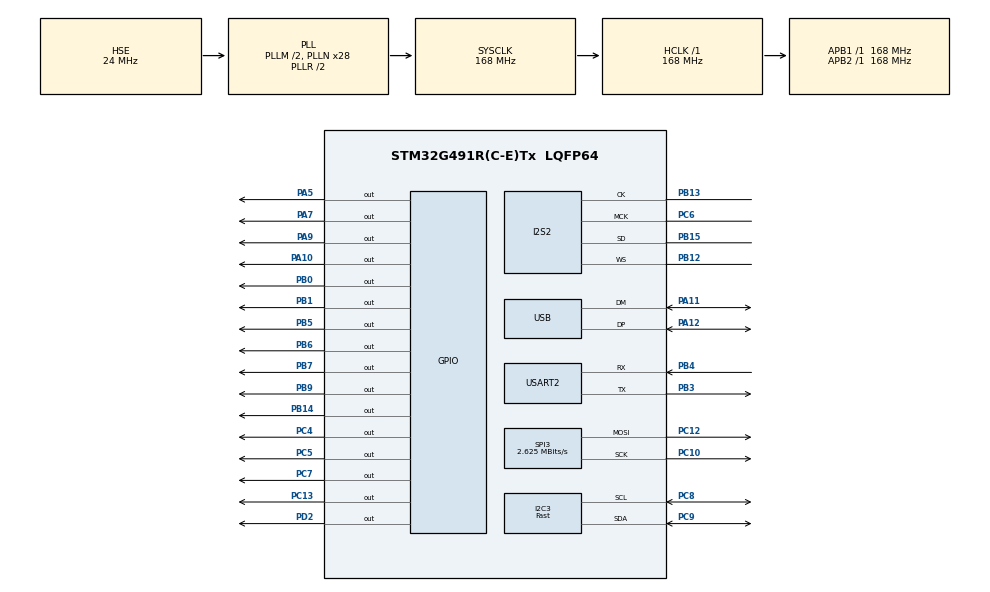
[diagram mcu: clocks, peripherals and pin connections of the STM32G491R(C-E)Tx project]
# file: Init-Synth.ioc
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Dma.Request0=SPI2_TX
Dma.SPI2_TX.0.Direction=DMA_MEMORY_TO_PERIPH
Dma.SPI2_TX.0.EventEnable=DISABLE
Dma.SPI2_TX.0.Instance=DMA1_Channel1
Dma.SPI2_TX.0.MemDataAlignment=DMA_MDATAALIGN_HALFWORD
Dma.SPI2_TX.0.MemInc=DMA_MINC_ENABLE
Dma.SPI2_TX.0.Mode=DMA_CIRCULAR
Dma.SPI2_TX.0.PeriphDataAlignment=DMA_PDATAALIGN_HALFWORD
Dma.SPI2_TX.0.PeriphInc=DMA_PINC_DISABLE
Dma.SPI2_TX.0.Polarity=HAL_DMAMUX_REQ_GEN_RISING
Dma.SPI2_TX.0.Priority=DMA_PRIORITY_VERY_HIGH
Dma.SPI2_TX.0.RequestNumber=1
Dma.SPI2_TX.0.SignalID=NONE
Dma.SPI2_TX.0.SyncEnable=DISABLE
Dma.SPI2_TX.0.SyncPolarity=HAL_DMAMUX_SYNC_NO_EVENT
Dma.SPI2_TX.0.SyncRequestNumber=1
Dma.SPI2_TX.0.SyncSignalID=NONE
I2C3.I2C_Speed_Mode=I2C_Fast
I2C3.Speed=400
I2C3.Timing=0x20B21E5A
I2S2.AudioFreq=I2S_AUDIOFREQ_16K
I2S2.ErrorAudioFreq=0.03 %
I2S2.FullDuplexMode=I2S_FULLDUPLEXMODE_DISABLE
I2S2.Instance=SPI$Index
I2S2.RealAudioFreq=16.006 KHz
I2S2.VirtualMode=I2S_MODE_MASTER
Mcu.Family=STM32G4
Mcu.Name=STM32G491R(C-E)Tx
Mcu.Package=LQFP64
NVIC.DMA1_Channel1_IRQn=true\:0\:0\:false\:false\:true\:false\:true\:true
NVIC.PriorityGroup=NVIC_PRIORITYGROUP_4
NVIC.TIM6_DAC_IRQn=true\:0\:0\:false\:false\:true\:true\:true\:true
NVIC.USART2_IRQn=true\:0\:0\:false\:false\:true\:true\:true\:true
NVIC.USB_LP_IRQn=true\:0\:0\:false\:false\:true\:false\:true\:true
PA10.Signal=GPIO_Output
PA11.Mode=Device
PA11.Signal=USB_DM
PA12.Mode=Device
PA12.Signal=USB_DP
PA13.Mode=Serial_Wire
PA13.Signal=SYS_JTMS-SWDIO
PA14.Mode=Serial_Wire
PA14.Signal=SYS_JTCK-SWCLK
PA5.Signal=GPIO_Output
PA7.Signal=GPIO_Output
PA9.Signal=GPIO_Output
PB0.Signal=GPIO_Output
PB1.Signal=GPIO_Output
PB12.Mode=Half_Duplex_Master
PB12.Signal=I2S2_WS
PB13.Mode=Half_Duplex_Master
PB13.Signal=I2S2_CK
PB14.Signal=GPIO_Output
PB15.Mode=Half_Duplex_Master
PB15.Signal=I2S2_SD
PB3.Mode=Asynchronous
PB3.Signal=USART2_TX
PB4.Mode=Asynchronous
PB4.Signal=USART2_RX
PB5.GPIO_PuPd=GPIO_PULLDOWN
PB5.Signal=GPIO_Output
PB6.Signal=GPIO_Output
PB7.Signal=GPIO_Output
PB9.Signal=GPIO_Output
PC10.Mode=TX_Only_Simplex_Unidirect_Master
PC10.Signal=SPI3_SCK
PC12.Mode=TX_Only_Simplex_Unidirect_Master
PC12.Signal=SPI3_MOSI
PC13.Signal=GPIO_Output
PC4.Signal=GPIO_Output
PC5.Signal=GPIO_Output
PC6.Mode=Master_Clock_Activated
PC6.Signal=I2S2_MCK
PC7.Signal=GPIO_Output
PC8.Mode=I2C
PC8.Signal=I2C3_SCL
PC9.Mode=I2C
PC9.Signal=I2C3_SDA
PD2.Signal=GPIO_Output
PF0-OSC_IN.Mode=HSE-External-Oscillator
PF0-OSC_IN.Signal=RCC_OSC_IN
PF1-OSC_OUT.Mode=HSE-External-Oscillator
PF1-OSC_OUT.Signal=RCC_OSC_OUT
ProjectManager.HeapSize=0x200
ProjectManager.StackSize=0x400
ProjectManager.TargetToolchain=STM32CubeIDE
RCC.ADC12Freq_Value=168000000
RCC.ADC345Freq_Value=168000000
RCC.AHBFreq_Value=168000000
RCC.APB1Freq_Value=168000000
RCC.APB1TimFreq_Value=168000000
RCC.APB2Freq_Value=168000000
RCC.APB2TimFreq_Value=168000000
RCC.CortexFreq_Value=168000000
RCC.EXTERNAL_CLOCK_VALUE=12288000
RCC.HCLKFreq_Value=168000000
RCC.HSE_VALUE=24000000
RCC.HSI48_VALUE=48000000
RCC.HSI_VALUE=16000000
RCC.LSE_VALUE=32768
RCC.PLLM=RCC_PLLM_DIV2
RCC.PLLN=28
RCC.PLLSourceVirtual=RCC_PLLSOURCE_HSE
RCC.SYSCLKFreq_VALUE=168000000
RCC.SYSCLKSource=RCC_SYSCLKSOURCE_PLLCLK
RCC.USBFreq_Value=48000000
RCC.VCOOutputFreq_Value=336000000
SPI3.BaudRatePrescaler=SPI_BAUDRATEPRESCALER_64
SPI3.CalculateBaudRate=2.625 MBits/s
SPI3.DataSize=SPI_DATASIZE_8BIT
SPI3.Direction=SPI_DIRECTION_2LINES
SPI3.Mode=SPI_MODE_MASTER
SPI3.VirtualType=VM_MASTER
STMicroelectronics.X-CUBE-ALGOBUILD.1.3.0.LibraryCcDSPOoLibraryJjDSPOoLibrary=true
TIM6.PeriodNoDither=1250-1
TIM6.Prescaler=16800-1
USART2.AutoBaudRateEnableParam=UART_ADVFEATURE_AUTOBAUDRATE_DISABLE
USART2.SwapParam=ADVFEATURE_SWAP_ENABLE
USART2.VirtualMode-Asynchronous=VM_ASYNC
USB_DEVICE.CLASS_NAME_FS=CDC
USB_DEVICE.PRODUCT_STRING_CDC_FS=Init Synthesizer
USB_DEVICE.VirtualMode=Cdc
USB_DEVICE.VirtualModeFS=Cdc_FS
VP_STMicroelectronics.X-CUBE-ALGOBUILD_VS_DSPOoLibraryJjLibrary_1.3.0_1.3.0.Mode=DSPOoLibraryJjLibrary
VP_SYS_VS_DBSignals.Mode=DisableDeadBatterySignals
VP_TIM6_VS_ClockSourceINT.Mode=Enable_Timer
VP_USB_DEVICE_VS_USB_DEVICE_CDC_FS.Mode=CDC_FS
board=custom

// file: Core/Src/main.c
/* USER CODE BEGIN Header */
/**
  ******************************************************************************
  * @file           : main.c
  * @brief          : Main program body
  ******************************************************************************
  * @attention
  *
  * Copyright (c) 2024 STMicroelectronics.
  * All rights reserved.
  *
  * This software is licensed under terms that can be found in the LICENSE file
  * in the root directory of this software component.
  * If no LICENSE file comes with this software, it is provided AS-IS.
  *
  ******************************************************************************
  */
/* USER CODE END Header */
#include "main.h"
#include "dma.h"
#include "i2c.h"
#include "i2s.h"
#include "spi.h"
#include "tim.h"
#include "usart.h"
#include "usb_device.h"
#include "gpio.h"

/* USER CODE BEGIN Includes */

#define ARM_MATH_CM4

#include "math.h"
#include "arm_math.h"
#include "usbd_cdc_if.h"
#include "string.h"
#include "stdbool.h"

#include "audiodac.h"
#include "gpioxpndr.h"
#include "synth.h"
#include "serial.h"
#include "midi.h"
#include "note.h"
#include "eeprom.h"
#include "system.h"

/* USER CODE END Includes */

void SystemClock_Config(void);

/* USER CODE BEGIN 0 */

extern System sys;

/* USER CODE END 0 */

int main(void)
{

  /* MCU Configuration--------------------------------------------------------*/

  /* Reset of all peripherals, Initializes the Flash interface and the Systick. */
  HAL_Init();

  /* Configure the system clock */
  SystemClock_Config();

  /* Initialize all configured peripherals */
  MX_GPIO_Init();
  MX_DMA_Init();
  MX_I2S2_Init();
  MX_I2C3_Init();
  MX_SPI3_Init();
  MX_USB_Device_Init();
  MX_USART2_UART_Init();
  MX_TIM6_Init();
  /* USER CODE BEGIN 2 */

  HAL_TIM_Base_Start_IT(&htim6);

  System_Reset_Initialize();

  Synth_Reset_Initialize();

  HAL_UART_Receive_IT(&huart2, sys.temp_buf , 1); // set up interrupt for MIDI/serial input

  uint8_t data[] = "INIT-READY\n";
  HAL_UART_Transmit(&huart2, data, 10, 1000);

  //Preset_Read(0);
  //Preset_Init(0);
  //Preset_Read(0);

  /* USER CODE END 2 */

  /* Infinite loop */
  /* USER CODE BEGIN WHILE */
  while (1)
  {

	  //Preset_Write(4);
	  //Preset_Write_test(0);

	  if(sys.midi_data_present == 1){
		  MIDI_Decode_Handler();
	  }

	  if(sys.usb_data_present == 1){
		  Serial_Command_Handler();
	  }

	  //Gate_Control();

	  if((sys.note_status_bit == 1)){

		  Waveform_Synthesis_Handler(sys.midi_note_input, sys.midi_note_velocity);
	  }

    /* USER CODE END WHILE */

  }
}

void SystemClock_Config(void)
{
  RCC_OscInitTypeDef RCC_OscInitStruct = {0};
  RCC_ClkInitTypeDef RCC_ClkInitStruct = {0};

  /** Configure the main internal regulator output voltage
  */
  HAL_PWREx_ControlVoltageScaling(PWR_REGULATOR_VOLTAGE_SCALE1_BOOST);

  /** Initializes the RCC Oscillators according to the specified parameters
  * in the RCC_OscInitTypeDef structure.
  */
  RCC_OscInitStruct.OscillatorType = RCC_OSCILLATORTYPE_HSI48|RCC_OSCILLATORTYPE_HSE;
  RCC_OscInitStruct.HSEState = RCC_HSE_ON;
  RCC_OscInitStruct.HSI48State = RCC_HSI48_ON;
  RCC_OscInitStruct.PLL.PLLState = RCC_PLL_ON;
  RCC_OscInitStruct.PLL.PLLSource = RCC_PLLSOURCE_HSE;
  RCC_OscInitStruct.PLL.PLLM = RCC_PLLM_DIV2;
  RCC_OscInitStruct.PLL.PLLN = 28;
  RCC_OscInitStruct.PLL.PLLP = RCC_PLLP_DIV2;
  RCC_OscInitStruct.PLL.PLLQ = RCC_PLLQ_DIV2;
  RCC_OscInitStruct.PLL.PLLR = RCC_PLLR_DIV2;
  if (HAL_RCC_OscConfig(&RCC_OscInitStruct) != HAL_OK)
  {
    Error_Handler();
  }

  /** Initializes the CPU, AHB and APB buses clocks
  */
  RCC_ClkInitStruct.ClockType = RCC_CLOCKTYPE_HCLK|RCC_CLOCKTYPE_SYSCLK
                              |RCC_CLOCKTYPE_PCLK1|RCC_CLOCKTYPE_PCLK2;
  RCC_ClkInitStruct.SYSCLKSource = RCC_SYSCLKSOURCE_PLLCLK;
  RCC_ClkInitStruct.AHBCLKDivider = RCC_SYSCLK_DIV1;
  RCC_ClkInitStruct.APB1CLKDivider = RCC_HCLK_DIV1;
  RCC_ClkInitStruct.APB2CLKDivider = RCC_HCLK_DIV1;

  if (HAL_RCC_ClockConfig(&RCC_ClkInitStruct, FLASH_LATENCY_4) != HAL_OK)
  {
    Error_Handler();
  }
}

void Error_Handler(void)
{
  __disable_irq();
  while (1)
  {
  }
}
